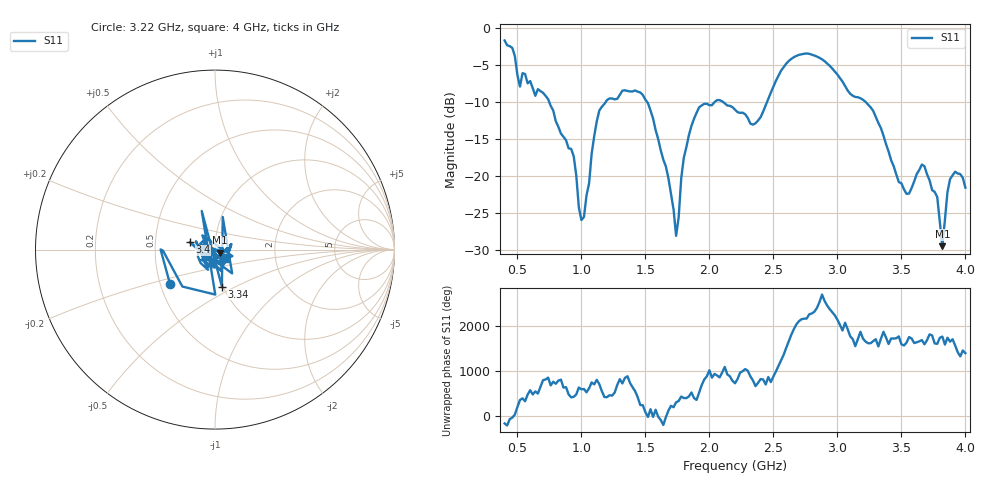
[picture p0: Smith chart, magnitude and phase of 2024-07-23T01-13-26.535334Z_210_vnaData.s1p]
!Created with skrf (http://scikit-rf.org).
# Hz S RI R 50.0
!freq ReS11 ImS11
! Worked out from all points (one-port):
!   181 points, 400 MHz to 4 GHz, reference 50 ohm
!   lowest |S11| = -29.5 dB at 3.82 GHz (marker M1), VSWR 1.07, Z = 52.9 - j1.79 ohm
!   |S11| at or under -10 dB: 748.3 MHz to 1.19 GHz (441.9 MHz wide, 45.6 % of centre); 1.513 GHz to 2.042 GHz (529.2 MHz wide, 29.8 % of centre); 3.22 GHz to end of sweep (the widest 3 of 4)
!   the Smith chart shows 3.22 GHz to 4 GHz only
!   S11 on the Smith chart (normalised r, x): 3.22 GHz: 0.56, -0.24; 3.34 GHz: 0.99, -0.43; 3.4 GHz: 0.75, +0.06; 4 GHz: 1.13, -0.12
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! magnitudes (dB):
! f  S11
! 400 MHz  -1.7
! 520 MHz  -7.9
! 700 MHz  -8.8
! 860 MHz  -14.7
! 940 MHz  -17.4
! 1 GHz  -26.0
! 1.14 GHz  -11.2
! 1.3 GHz  -9.0
! 1.52 GHz  -10.2
! 1.68 GHz  -20.4
! 1.74 GHz  -28.1
! 1.76 GHz  -25.6
! 1.8 GHz  -17.6
! 1.92 GHz  -10.7
! 2.2 GHz  -11.0
! 2.36 GHz  -12.9
! 2.66 GHz  -3.9
! 2.88 GHz  -4.2
! 3.1 GHz  -8.9
! 3.22 GHz  -10.0
! 3.34 GHz  -13.5
! 3.4 GHz  -16.7
! 3.56 GHz  -22.4
! 3.68 GHz  -18.7
! 3.78 GHz  -22.9
! 3.82 GHz  -29.5
! 3.88 GHz  -20.5
! 4 GHz  -21.6
